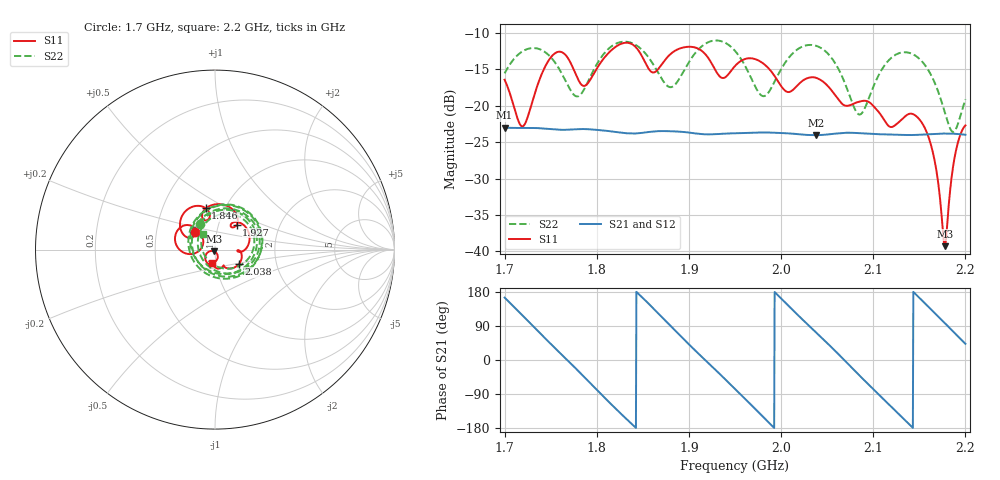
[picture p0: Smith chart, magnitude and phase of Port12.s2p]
# Hz S RI R 50
! CMT, CMT808U, 21440046, 21.4.3/4
! Date: 4/9/2026 1:50:00 AM
! Data: Format (Calibration Info)
! Freq	S11:Re/Im(F2)	S41:Re/Im(F2)	S14:Re/Im(F2)	S44:Re/Im(F2)
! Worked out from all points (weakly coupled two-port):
!   1001 points, 1.7 GHz to 2.2 GHz, reference 50 ohm
!   highest |S21| = -23.01 dB at 1.7 GHz (marker M1); lowest = -24.0 dB at 2.038 GHz (marker M2)
!   lowest |S11| = -39.3 dB at 2.178 GHz (marker M3), VSWR 1.02, Z = 49.5 - j0.969 ohm
!   |S11| at or under -10 dB: start of sweep to end of sweep
!   |S22| runs from -23.6 to -11.0 dB; largest |S21 - S12| = 0.001
!   S11 on the Smith chart (normalised r, x): 1.7 GHz: 0.78, +0.16; 1.846 GHz: 0.81, +0.40; 1.927 GHz: 1.22, +0.35; 2.038 GHz: 1.29, -0.21; 2.2 GHz: 0.96, -0.14
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1.7e9  -0.1139 0.0996  -0.0682 0.0187  -0.0682 0.0178  -0.0834 0.1447
1.7195e9  -0.069 0.0217  -0.0325 0.0626  -0.0331 0.0619  0.0918 0.2185
1.7425e9  -0.1773 -0.0154  0.034 0.0612  0.0331 0.0613  0.2338 0.0394
1.762e9  -0.2063 0.1102  0.0664 0.0166  0.0659 0.0174  0.1069 -0.1281
1.7835e9  -0.1076 0.0889  0.0547 -0.0426  0.0551 -0.0416  -0.1167 -0.0351
1.815e9  -0.1951 0.1367  -0.0285 -0.0605  -0.0276 -0.0607  0.0516 0.2482
1.846e9  -0.0517 0.2306  -0.0644 0.008  -0.0643 0.00715  0.2517 -0.0188
1.867e9  -0.0647 0.1681  -0.0359 0.0567  -0.0365 0.056  0.0411 -0.1622
1.893e9  -0.00485 0.251  0.0348 0.0564  0.0339 0.0567  -0.1445 0.0848
1.927e9  0.1209 0.1387  0.0593 -0.0236  0.0595 -0.0227  0.1994 0.1976
1.95e9  0.1083 0.1535  0.0153 -0.063  0.0162 -0.0626  0.2304 -0.0625
1.99e9  0.1702 0.00243  -0.065 -0.00773  -0.0647 -0.00866  -0.1288 0.0407
2.0335e9  0.1441 -0.063  0.00775 0.0625  0.0068 0.0625  0.2274 0.1299
2.038e9  0.1333 -0.0805  0.0189 0.06  0.0179 0.0602  0.2444 0.084
2.0635e9  0.0513 -0.0951  0.0634 0.0138  0.0631 0.0147  0.1166 -0.1279
2.085e9  0.0386 -0.0997  0.0492 -0.0424  0.0497 -0.0417  -0.077 -0.0409
2.117e9  -0.00882 -0.072  -0.0293 -0.0565  -0.0285 -0.0568  0.0525 0.1994
2.1555e9  -0.0546 -0.0461  -0.0558 0.0305  -0.0562 0.0297  0.1863 -0.0498
2.167e9  -0.0384 -0.0141  -0.0355 0.0535  -0.0363 0.0529  0.0977 -0.1039
2.1775e9  -0.00475 -0.00978  -0.00882 0.0639  -0.00975 0.0637  0.00331 -0.0908
2.1885e9  0.0154 -0.0423  0.0213 0.0607  0.0204 0.0609  -0.065 -0.0177
2.2e9  -0.0147 -0.0719  0.0466 0.0429  0.0459 0.0436  -0.0691 0.087
